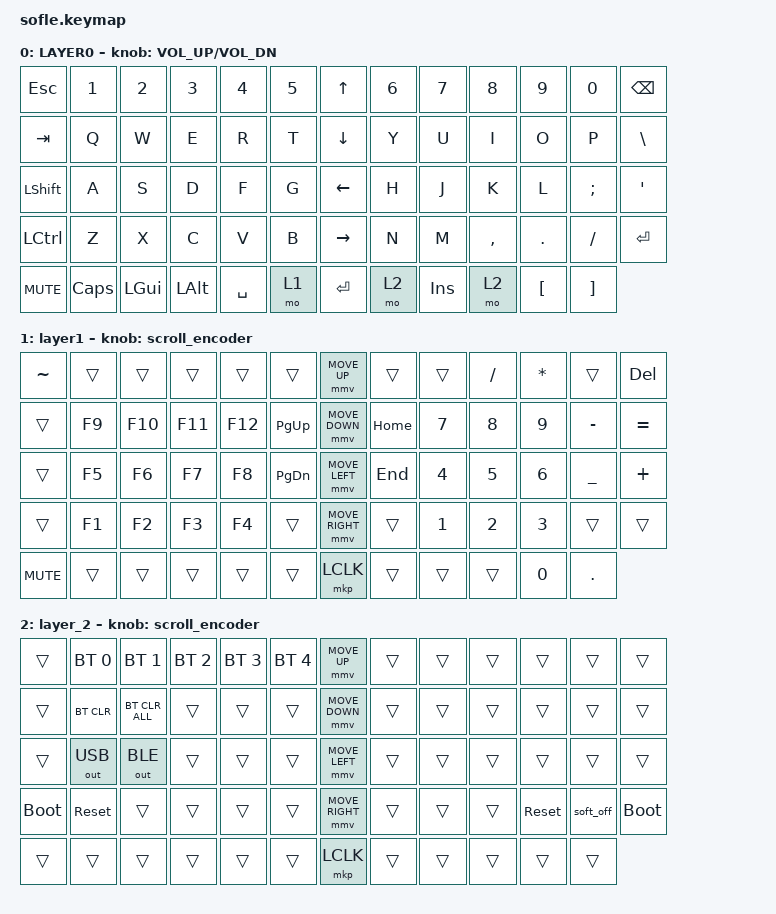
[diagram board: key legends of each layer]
#include <behaviors/mouse_keys.dtsi>
#include <behaviors.dtsi>
#include <dt-bindings/zmk/bt.h>
#include <dt-bindings/zmk/keys.h>
#include <dt-bindings/zmk/mouse.h>
#include <dt-bindings/zmk/outputs.h>

#define ZMK_MOUSE_DEFAULT_MOVE_VAL 1200  // 600
#define ZMK_MOUSE_DEFAULT_SCRL_VAL 20    // 10
#define U_MS_U &mmv MOVE_UP
#define U_MS_D &mmv MOVE_DOWN
#define U_MS_L &mmv MOVE_LEFT
#define U_MS_R &mmv MOVE_RIGHT
#define ZMK_MOUSE_DEFAULT_MOVE_VAL 1200  //  600
#define ZMK_MOUSE_DEFAULT_SCRL_VAL 20    // 10

/ {
    behaviors {
        mmv {
            acceleration-exponent = <1>;      // 1
            time-to-max-speed-ms = <900>;    // 40
            delay-ms = <0>;                   // 0
        };

        msc {
            acceleration-exponent = <1>;      // 0
            time-to-max-speed-ms = <400>;      // 500
            delay-ms = <0>;                   //   10
        };
    };

    scroll_encoder: scroll_encoder {
        compatible = "zmk,behavior-sensor-rotate";
        #sensor-binding-cells = <0>;
        bindings = <&msc SCRL_DOWN>, <&msc SCRL_UP>;

        tap-ms = <30>;
    };

    keymap {
        compatible = "zmk,keymap";

        layer0 {
            bindings = <
&kp ESC         &kp N1    &kp N2        &kp N3        &kp N4     &kp N5    &kp UP_ARROW     &kp N6  &kp N7   &kp N8     &kp N9            &kp N0             &kp BACKSPACE
&kp TAB         &kp Q     &kp W         &kp E         &kp R      &kp T     &kp DOWN_ARROW   &kp Y   &kp U    &kp I      &kp O             &kp P              &kp BSLH
&kp LEFT_SHIFT  &kp A     &kp S         &kp D         &kp F      &kp G     &kp LEFT_ARROW   &kp H   &kp J    &kp K      &kp L             &kp SEMI           &kp APOS
&kp LCTRL       &kp Z     &kp X         &kp C         &kp V      &kp B     &kp RIGHT_ARROW  &kp N   &kp M    &kp COMMA  &kp DOT           &kp FSLH           &kp ENTER
&kp C_MUTE      &kp CAPS  &kp LEFT_GUI  &kp LEFT_ALT  &kp SPACE  &mo 1     &kp ENTER        &mo 2   &kp INS  &mo 2      &kp LEFT_BRACKET  &kp RIGHT_BRACKET
            >;

            sensor-bindings = <&inc_dec_kp C_VOLUME_UP C_VOL_DN>;
            display-name = "LAYER0";
        };

        layer_1 {
            bindings = <
&kp TILDE   &trans  &trans   &trans   &trans   &trans           &mmv MOVE_UP     &trans    &trans  &kp SLASH  &kp ASTRK  &trans          &kp DEL
&trans      &kp F9  &kp F10  &kp F11  &kp F12  &kp PG_UP        &mmv MOVE_DOWN   &kp HOME  &kp N7  &kp N8     &kp N9     &kp MINUS       &kp EQUAL
&trans      &kp F5  &kp F6   &kp F7   &kp F8   &kp PAGE_DOWN    &mmv MOVE_LEFT   &kp END   &kp N4  &kp N5     &kp N6     &kp UNDERSCORE  &kp PLUS
&trans      &kp F1  &kp F2   &kp F3   &kp F4   &trans           &mmv MOVE_RIGHT  &trans    &kp N1  &kp N2     &kp N3     &trans          &trans
&kp C_MUTE  &trans  &trans   &trans   &trans   &trans           &mkp LCLK        &trans    &trans  &trans     &kp N0     &kp DOT
            >;

            display-name = "layer1";
            sensor-bindings = <&scroll_encoder>;
        };

        layer_2 {
            bindings = <
&trans       &bt BT_SEL 0  &bt BT_SEL 1    &bt BT_SEL 2  &bt BT_SEL 3  &bt BT_SEL 4    &mmv MOVE_UP     &trans  &trans  &trans  &trans      &trans     &trans
&trans       &bt BT_CLR    &bt BT_CLR_ALL  &trans        &trans        &trans          &mmv MOVE_DOWN   &trans  &trans  &trans  &trans      &trans     &trans
&trans       &out OUT_USB  &out OUT_BLE    &trans        &trans        &trans          &mmv MOVE_LEFT   &trans  &trans  &trans  &trans      &trans     &trans
&bootloader  &sys_reset    &trans          &trans        &trans        &trans          &mmv MOVE_RIGHT  &trans  &trans  &trans  &sys_reset  &soft_off  &bootloader
&trans       &trans        &trans          &trans        &trans        &trans          &mkp LCLK        &trans  &trans  &trans  &trans      &trans
            >;

            sensor-bindings = <&scroll_encoder>;
        };
    };
};
